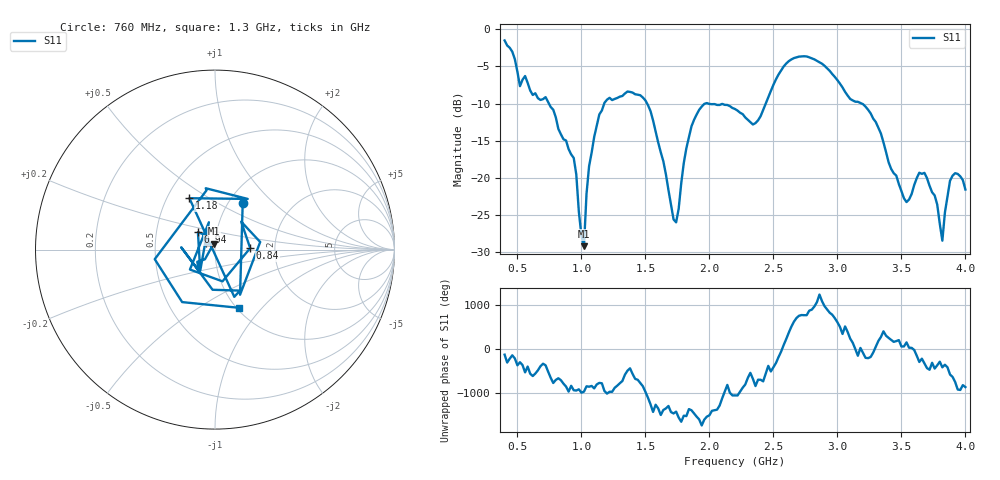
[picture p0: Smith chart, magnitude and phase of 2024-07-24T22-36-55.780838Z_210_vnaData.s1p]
!Created with skrf (http://scikit-rf.org).
# Hz S RI R 50.0
!freq ReS11 ImS11
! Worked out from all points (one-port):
!   181 points, 400 MHz to 4 GHz, reference 50 ohm
!   lowest |S11| = -29.2 dB at 1.02 GHz (marker M1), VSWR 1.07, Z = 49.2 + j3.33 ohm
!   |S11| at or under -10 dB: 1.514 GHz to 1.967 GHz (453.8 MHz wide, 26.1 % of centre); 1.992 GHz to 2.44 GHz (448.1 MHz wide, 20.2 % of centre); 3.191 GHz to end of sweep (the widest 3 of 4)
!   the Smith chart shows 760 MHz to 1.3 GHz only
!   S11 on the Smith chart (normalised r, x): 760 MHz: 1.16, +0.66; 840 MHz: 1.49, +0.03; 940 MHz: 0.81, +0.16; 1.18 GHz: 0.65, +0.41; 1.3 GHz: 1.03, -0.76
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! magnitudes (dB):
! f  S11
! 400 MHz  -1.5
! 520 MHz  -7.6
! 560 MHz  -6.3
! 760 MHz  -10.5
! 840 MHz  -14.1
! 860 MHz  -14.8
! 940 MHz  -17.3
! 1.02 GHz  -29.2
! 1.06 GHz  -18.4
! 1.18 GHz  -9.9
! 1.3 GHz  -9.1
! 1.52 GHz  -10.2
! 1.72 GHz  -25.6
! 1.76 GHz  -24.2
! 1.82 GHz  -16.0
! 1.92 GHz  -10.8
! 2.2 GHz  -10.7
! 2.36 GHz  -12.6
! 2.66 GHz  -3.9
! 2.88 GHz  -4.6
! 3.1 GHz  -9.4
! 3.3 GHz  -12.5
! 3.56 GHz  -22.9
! 3.68 GHz  -19.3
! 3.78 GHz  -23.6
! 3.82 GHz  -28.5
! 3.88 GHz  -20.4
! 4 GHz  -21.6
